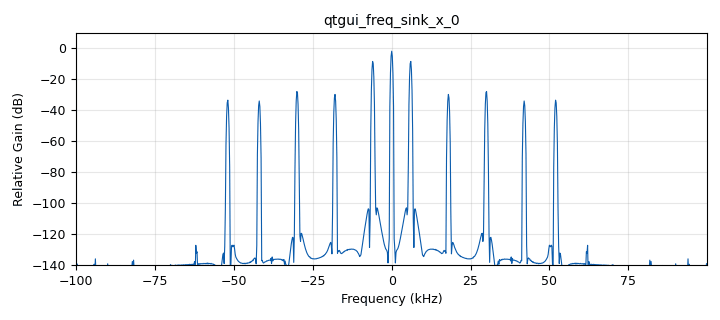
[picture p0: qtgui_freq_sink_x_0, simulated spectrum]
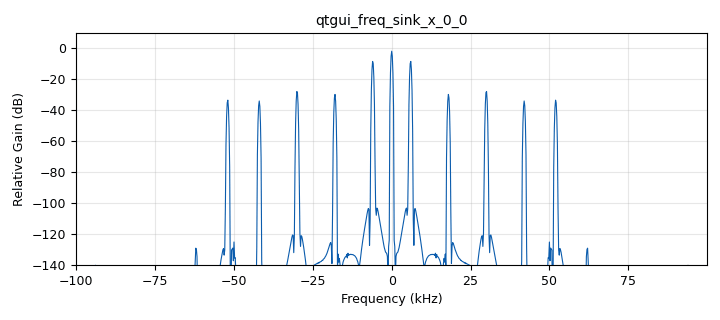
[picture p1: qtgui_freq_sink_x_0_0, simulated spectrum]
options:
  parameters:
    generate_options: qt_gui
    id: progetto
    output_language: python
    title: Tesina 1
  states: {}

blocks:
- name: samp_rate
  id: variable
  parameters:
    value: '200000'
  states: {}
- name: analog_const_source_x_0
  id: analog_const_source_x
  parameters:
    alias: Y_0
    const: '2.25'
    type: float
  states: {}
- name: analog_const_source_x_0_0
  id: analog_const_source_x
  parameters:
    const: '2.25'
    type: float
  states: {}
- name: analog_sig_source_x_0
  id: analog_sig_source_x
  parameters:
    amp: '2.1708'
    freq: '6000'
    offset: '0'
    phase: '0'
    samp_rate: samp_rate
    type: float
    waveform: analog.GR_COS_WAVE
  states: {}
- name: analog_sig_source_x_0_0
  id: analog_sig_source_x
  parameters:
    amp: '-0.1833'
    freq: '18000'
    offset: '0'
    phase: '0'
    samp_rate: samp_rate
    type: float
    waveform: analog.GR_COS_WAVE
  states: {}
- name: analog_sig_source_x_0_0_0
  id: analog_sig_source_x
  parameters:
    amp: '0.1833'
    freq: '18000'
    offset: '0'
    phase: '0'
    samp_rate: samp_rate
    type: float
    waveform: analog.GR_COS_WAVE
  states: {}
- name: analog_sig_source_x_0_1
  id: analog_sig_source_x
  parameters:
    amp: '0.2396'
    freq: '30000'
    offset: '0'
    phase: '0'
    samp_rate: samp_rate
    type: float
    waveform: analog.GR_COS_WAVE
  states: {}
- name: analog_sig_source_x_0_1_0
  id: analog_sig_source_x
  parameters:
    amp: '0.2396'
    freq: '30000'
    offset: '0'
    phase: '1.047'
    samp_rate: samp_rate
    type: float
    waveform: analog.GR_COS_WAVE
  states: {}
- name: analog_sig_source_x_0_2
  id: analog_sig_source_x
  parameters:
    amp: '-0.1116'
    freq: '42000'
    offset: '0'
    phase: '0'
    samp_rate: samp_rate
    type: float
    waveform: analog.GR_COS_WAVE
  states: {}
- name: analog_sig_source_x_0_2_0
  id: analog_sig_source_x
  parameters:
    amp: '0.1211'
    freq: '52000'
    offset: '0'
    phase: '0'
    samp_rate: samp_rate
    type: float
    waveform: analog.GR_COS_WAVE
  states: {}
- name: analog_sig_source_x_0_2_0_0
  id: analog_sig_source_x
  parameters:
    amp: '-0.1211'
    freq: '52000'
    offset: '0'
    phase: '0'
    samp_rate: samp_rate
    type: float
    waveform: analog.GR_COS_WAVE
  states: {}
- name: analog_sig_source_x_0_2_1
  id: analog_sig_source_x
  parameters:
    amp: '0.1116'
    freq: '42000'
    offset: '0'
    phase: '2.094'
    samp_rate: samp_rate
    type: float
    waveform: analog.GR_COS_WAVE
  states: {}
- name: analog_sig_source_x_0_3
  id: analog_sig_source_x
  parameters:
    amp: '2.1708'
    freq: '6000'
    offset: '0'
    phase: '-1.047'
    samp_rate: samp_rate
    type: float
    waveform: analog.GR_COS_WAVE
  states: {}
- name: blocks_add_xx_0
  id: blocks_add_xx
  parameters:
    num_inputs: '6'
    type: float
  states: {}
- name: blocks_add_xx_0_1
  id: blocks_add_xx
  parameters:
    num_inputs: '6'
    type: float
  states: {}
- name: qtgui_freq_sink_x_0
  id: qtgui_freq_sink_x
  parameters:
    bw: samp_rate
    fc: '0'
    fftsize: '1024'
    tr_level: '0'
    type: float
  states: {}
- name: qtgui_freq_sink_x_0_0
  id: qtgui_freq_sink_x
  parameters:
    bw: samp_rate
    fc: '0'
    fftsize: '1024'
    tr_level: '0'
    type: float
  states: {}
- name: qtgui_time_sink_x_0
  id: qtgui_time_sink_x
  parameters:
    grid: 'True'
    size: '4096'
    srate: samp_rate
    tr_level: '2.25'
    tr_mode: qtgui.TRIG_MODE_NORM
    type: float
  states: {state: disabled}
- name: qtgui_time_sink_x_0_1
  id: qtgui_time_sink_x
  parameters:
    grid: 'True'
    size: '4096'
    srate: samp_rate
    tr_level: '2.25'
    tr_mode: qtgui.TRIG_MODE_NORM
    type: float
  states: {state: disabled}

connections:
- [analog_const_source_x_0, '0', blocks_add_xx_0, '0']
- [analog_const_source_x_0_0, '0', blocks_add_xx_0_1, '0']
- [analog_sig_source_x_0, '0', blocks_add_xx_0, '1']
- [analog_sig_source_x_0_0, '0', blocks_add_xx_0, '2']
- [analog_sig_source_x_0_0_0, '0', blocks_add_xx_0_1, '2']
- [analog_sig_source_x_0_1, '0', blocks_add_xx_0, '3']
- [analog_sig_source_x_0_1_0, '0', blocks_add_xx_0_1, '3']
- [analog_sig_source_x_0_2, '0', blocks_add_xx_0, '4']
- [analog_sig_source_x_0_2_0, '0', blocks_add_xx_0, '5']
- [analog_sig_source_x_0_2_0_0, '0', blocks_add_xx_0_1, '5']
- [analog_sig_source_x_0_2_1, '0', blocks_add_xx_0_1, '4']
- [analog_sig_source_x_0_3, '0', blocks_add_xx_0_1, '1']
- [blocks_add_xx_0, '0', qtgui_freq_sink_x_0, '0']
- [blocks_add_xx_0, '0', qtgui_time_sink_x_0, '0']
- [blocks_add_xx_0_1, '0', qtgui_freq_sink_x_0_0, '0']
- [blocks_add_xx_0_1, '0', qtgui_time_sink_x_0_1, '0']

metadata:
  file_format: 1
  grc_version: 3.10.9.2
